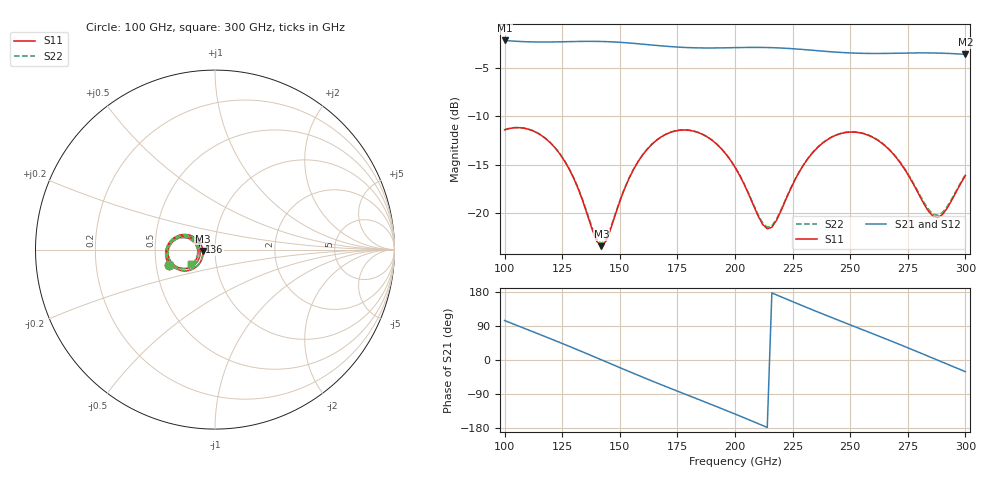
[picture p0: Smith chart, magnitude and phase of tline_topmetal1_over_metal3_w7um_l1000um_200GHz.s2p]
#  GHZ S DB R 50
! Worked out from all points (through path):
!   101 points, 100 GHz to 300 GHz, reference 50 ohm
!   highest |S21| = -2.15 dB at 100 GHz (marker M1); lowest = -3.6 dB at 300 GHz (marker M2)
!   group delay of S21, straight-line fit = 6.88 ps
!   lowest |S11| = -23.4 dB at 142 GHz (marker M3), VSWR 1.14, Z = 43.7 - j0.623 ohm
!   |S11| at or under -10 dB: start of sweep to end of sweep
!   |S22| runs from -23.2 to -11.2 dB; largest |S21 - S12| = 1.2e-12
!   S11 on the Smith chart (normalised r, x): 100 GHz: 0.59, -0.11; 136 GHz: 0.84, +0.07; 300 GHz: 0.76, -0.13
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100  -11.40 -161.0  -2.15 104.2  -2.15 104.2  -11.38 -160.8
108  -11.21 -176.6  -2.27 84.9  -2.27 84.9  -11.19 -176.2
116  -11.98 168.6  -2.32 65.6  -2.32 65.6  -11.96 169.0
126  -14.61 153.0  -2.29 41.2  -2.29 41.2  -14.57 153.6
134  -18.81 150.0  -2.25 21.0  -2.25 21.0  -18.71 150.8
136  -20.23 153.3  -2.25 15.9  -2.25 15.9  -20.10 154.2
142  -23.43 -174.0  -2.26 0.5  -2.26 0.5  -23.18 -173.9
154  -16.43 -137.7  -2.42 -30.3  -2.42 -30.3  -16.39 -138.1
168  -12.13 -156.3  -2.71 -65.2  -2.71 -65.2  -12.11 -156.2
184  -11.67 176.1  -2.92 -103.7  -2.92 -103.7  -11.65 176.4
200  -15.26 154.6  -2.90 -142.6  -2.90 -142.6  -15.22 155.1
214  -21.63 -177.7  -2.89 -177.9  -2.89 -177.9  -21.47 -177.4
218  -20.77 -157.1  -2.92 171.8  -2.92 171.8  -20.64 -157.3
224  -17.57 -144.0  -2.99 156.6  -2.99 156.6  -17.51 -144.2
234  -13.68 -149.3  -3.18 131.5  -3.18 131.5  -13.65 -149.3
250  -11.62 -173.2  -3.44 92.7  -3.44 92.7  -11.60 -172.8
258  -11.97 174.4  -3.50 73.6  -3.50 73.6  -11.94 174.9
268  -13.71 161.2  -3.49 49.5  -3.49 49.5  -13.66 161.9
278  -17.26 157.7  -3.45 24.7  -3.45 24.7  -17.15 158.6
286  -20.34 177.5  -3.45 4.6  -3.45 4.6  -20.12 178.0
290  -20.17 -165.4  -3.47 -5.6  -3.47 -5.6  -19.97 -165.5
300  -16.12 -148.1  -3.59 -30.8  -3.59 -30.8  -16.04 -148.3
